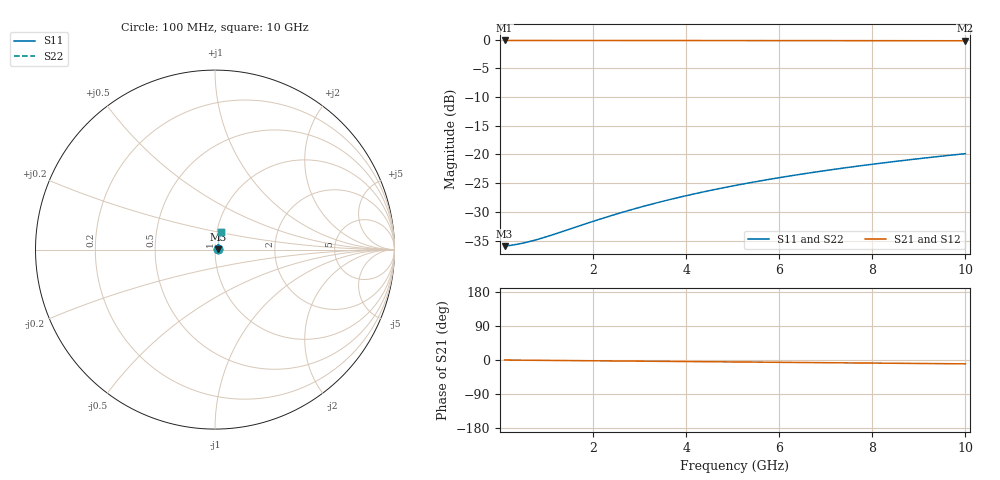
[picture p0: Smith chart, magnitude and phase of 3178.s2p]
# Hz S RI R 50.00
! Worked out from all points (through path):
!   100 points, 100 MHz to 10 GHz, reference 50 ohm
!   highest |S21| = -0.14 dB at 100 MHz (marker M1); lowest = -0.2 dB at 10 GHz (marker M2)
!   group delay of S21, straight-line fit = 2.82 ps
!   lowest |S11| = -36.0 dB at 100 MHz (marker M3), VSWR 1.03, Z = 51.6 + j0.102 ohm
!   |S11| at or under -10 dB: start of sweep to end of sweep
!   |S22| runs from -36.0 to -19.9 dB; largest |S21 - S12| = 0
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1e8  0.0159 0.000984  0.9841 -0.00175  0.9841 -0.00175  0.0159 0.000984
3e8  0.0161 0.00295  0.9839 -0.00525  0.9839 -0.00525  0.0161 0.00295
4e8  0.0161 0.00393  0.9838 -0.007  0.9838 -0.007  0.0161 0.00393
5e8  0.0162 0.00491  0.9838 -0.00875  0.9838 -0.00875  0.0162 0.00491
7e8  0.0163 0.00688  0.9836 -0.0122  0.9836 -0.0122  0.0163 0.00688
9e8  0.0165 0.00884  0.9835 -0.0157  0.9835 -0.0157  0.0165 0.00884
1.1e9  0.0166 0.0108  0.9834 -0.0192  0.9834 -0.0192  0.0166 0.0108
1.8e9  0.0171 0.0177  0.9828 -0.0315  0.9828 -0.0315  0.0171 0.0177
2.2e9  0.0175 0.0216  0.9824 -0.0384  0.9824 -0.0384  0.0175 0.0216
2.6e9  0.0179 0.0255  0.9819 -0.0454  0.9819 -0.0454  0.0179 0.0255
3e9  0.0183 0.0294  0.9814 -0.0524  0.9814 -0.0524  0.0183 0.0294
3.4e9  0.0188 0.0333  0.9808 -0.0593  0.9808 -0.0593  0.0188 0.0333
3.8e9  0.0194 0.0371  0.9802 -0.0663  0.9802 -0.0663  0.0194 0.0371
4.2e9  0.02 0.041  0.9795 -0.0732  0.9795 -0.0732  0.02 0.041
4.6e9  0.0206 0.0449  0.9787 -0.0802  0.9787 -0.0802  0.0206 0.0449
5.1e9  0.0215 0.0497  0.9777 -0.0888  0.9777 -0.0888  0.0215 0.0497
5.9e9  0.0231 0.0574  0.9758 -0.1026  0.9758 -0.1026  0.0231 0.0574
6.7e9  0.025 0.065  0.9737 -0.1163  0.9737 -0.1163  0.025 0.065
7.5e9  0.027 0.0725  0.9713 -0.13  0.9713 -0.13  0.027 0.0725
8.4e9  0.0295 0.0809  0.9683 -0.1453  0.9683 -0.1453  0.0295 0.0809
9.2e9  0.032 0.0883  0.9654 -0.1589  0.9654 -0.1589  0.032 0.0883
1e10  0.0347 0.0956  0.9623 -0.1723  0.9623 -0.1723  0.0347 0.0956
